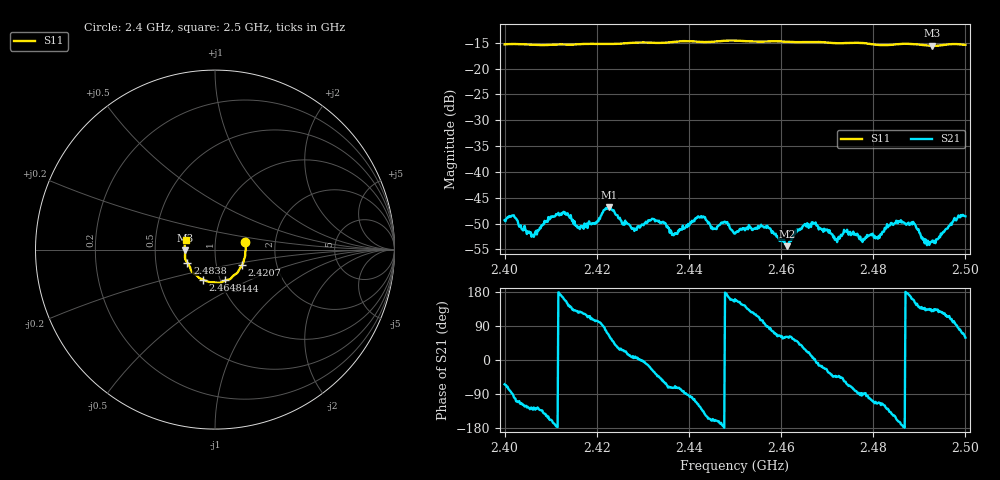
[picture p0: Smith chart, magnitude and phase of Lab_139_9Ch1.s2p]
# Hz S RI R 50
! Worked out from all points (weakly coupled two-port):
!   601 points, 2.4 GHz to 2.5 GHz, reference 50 ohm
!   highest |S21| = -46.85 dB at 2.4227 GHz (marker M1); lowest = -54.4 dB at 2.4613 GHz (marker M2)
!   lowest |S11| = -15.6 dB at 2.4928 GHz (marker M3), VSWR 1.40, Z = 35.7 - j0.335 ohm
!   |S11| at or under -10 dB: start of sweep to end of sweep
!   S12 and S22 are empty: the file has one direction only
!   S11 on the Smith chart (normalised r, x): 2.4 GHz: 1.39, +0.12; 2.4207 GHz: 1.33, -0.24; 2.444 GHz: 1.05, -0.37; 2.4648 GHz: 0.83, -0.29; 2.4838 GHz: 0.73, -0.11; 2.5 GHz: 0.72, +0.08
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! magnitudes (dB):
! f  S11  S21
! 2.4 GHz  -15.3  -49.4
! 2.406 GHz  -15.3  -52.2
! 2.4132 GHz  -15.3  -47.9
! 2.4167 GHz  -15.2  -50.4
! 2.4207 GHz  -15.2  -49.1
! 2.4227 GHz  -15.2  -46.9
! 2.4282 GHz  -15.0  -51.4
! 2.4333 GHz  -15.0  -49.6
! 2.4368 GHz  -14.8  -52.1
! 2.444 GHz  -14.8  -49.6
! 2.45 GHz  -14.6  -51.9
! 2.457 GHz  -14.7  -50.4
! 2.4613 GHz  -14.8  -54.4
! 2.4648 GHz  -14.9  -50.4
! 2.4667 GHz  -14.8  -49.8
! 2.4722 GHz  -15.1  -53.6
! 2.481 GHz  -15.4  -52.9
! 2.4833 GHz  -15.4  -50.5
! 2.4838 GHz  -15.4  -49.9
! 2.4887 GHz  -15.2  -49.7
! 2.4928 GHz  -15.6  -53.3
! 2.5 GHz  -15.4  -48.6
